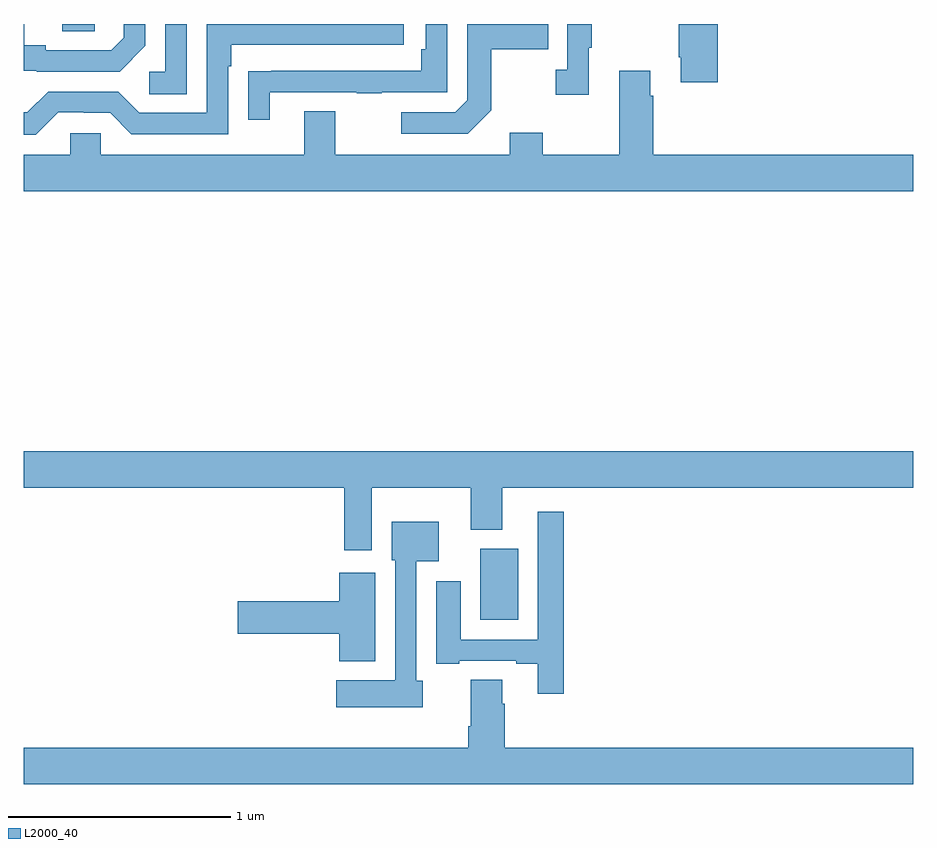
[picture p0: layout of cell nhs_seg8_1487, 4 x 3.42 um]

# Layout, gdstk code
import gdstk
lib = gdstk.Library(unit=1e-6, precision=1e-09)
def R(c, l, rs):  # rectangles x0, y0, x1, y1
    for r in rs: c.add(gdstk.rectangle(r[:2], r[2:], *l))
def P(c, l, *ps):  # polygons
    for p in ps: c.add(gdstk.Polygon(p, *l))
L2000_40 = (2000, 40)

nhs_seg8_1487 = lib.new_cell('nhs_seg8_1487')
R(nhs_seg8_1487, L2000_40, [(207.053,1133.222,207.223,1133.542), (205.175,1135.867,205.32,1135.9)])
P(nhs_seg8_1487, L2000_40, [(205.155,1135.503),(205.271,1135.503),(205.271,1135.5),(205.389,1135.5),(205.485,1135.404),(205.92,1135.404),(205.92,1135.709),(205.933,1135.709),(205.933,1135.806),(206.71,1135.806),(206.71,1135.9),(205.824,1135.9),(205.824,1135.5),(205.521,1135.5),(205.425,1135.596),(205.11,1135.596),(205.017,1135.503),(205,1135.503),(205,1135.403),(205.055,1135.403)],
  [(207.541,1135.793),(207.553,1135.793),(207.553,1135.9),(207.444,1135.9),(207.444,1135.694),(207.393,1135.694),(207.393,1135.581),(207.541,1135.581)],
  [(206.107,1135.593),(206.497,1135.593),(206.497,1135.588),(206.609,1135.588),(206.609,1135.593),(206.904,1135.593),(206.904,1135.9),(206.808,1135.9),(206.808,1135.786),(206.788,1135.786),(206.788,1135.689),(206.113,1135.689),(206.113,1135.688),(206.011,1135.688),(206.011,1135.47),(206.107,1135.47)],
  [(208.121,1135.9),(207.946,1135.9),(207.946,1135.75),(207.953,1135.75),(207.953,1135.638),(208.121,1135.638)],
  [(205.734,1135.9),(205.638,1135.9),(205.638,1135.686),(205.566,1135.686),(205.566,1135.585),(205.734,1135.585)],
  [(207.103,1135.513),(207.103,1135.786),(207.359,1135.786),(207.359,1135.9),(206.994,1135.9),(206.994,1135.557),(206.94,1135.503),(206.697,1135.503),(206.697,1135.407),(206.997,1135.407)],
  [(205.548,1135.802),(205.548,1135.9),(205.451,1135.9),(205.451,1135.839),(205.394,1135.782),(205.099,1135.782),(205.099,1135.805),(205.003,1135.805),(205.003,1135.9),(205,1135.9),(205,1135.689),(205.06,1135.689),(205.06,1135.686),(205.432,1135.686)],
  [(209,1135.312),(207.83,1135.312),(207.83,1135.577),(207.817,1135.577),(207.817,1135.69),(207.677,1135.69),(207.677,1135.312),(207.333,1135.312),(207.333,1135.411),(207.185,1135.411),(207.185,1135.312),(206.401,1135.312),(206.401,1135.507),(206.261,1135.507),(206.261,1135.312),(205.347,1135.312),(205.347,1135.41),(205.209,1135.41),(205.209,1135.312),(205,1135.312),(205,1135.148),(209,1135.148)],
  [(206.566,1133.816),(207.011,1133.816),(207.011,1133.627),(207.151,1133.627),(207.151,1133.816),(209,1133.816),(209,1133.98),(205,1133.98),(205,1133.816),(206.441,1133.816),(206.441,1133.535),(206.566,1133.535)],
  [(207.428,1133.707),(207.312,1133.707),(207.312,1133.133),(206.965,1133.133),(206.965,1133.395),(206.855,1133.395),(206.855,1133.025),(206.959,1133.025),(206.959,1133.037),(207.215,1133.037),(207.215,1133.025),(207.311,1133.025),(207.311,1132.89),(207.428,1132.89)],
  [(206.794,1132.947),(206.766,1132.947),(206.766,1133.486),(206.866,1133.486),(206.866,1133.662),(206.654,1133.662),(206.654,1133.49),(206.67,1133.49),(206.67,1132.951),(206.406,1132.951),(206.406,1132.829),(206.794,1132.829)],
  [(206.581,1133.434),(206.42,1133.434),(206.42,1133.306),(205.962,1133.306),(205.962,1133.159),(206.42,1133.159),(206.42,1133.036),(206.581,1133.036)],
  [(209,1132.648),(207.164,1132.648),(207.164,1132.844),(207.151,1132.844),(207.151,1132.952),(207.011,1132.952),(207.011,1132.744),(206.999,1132.744),(206.999,1132.648),(205,1132.648),(205,1132.484),(209,1132.484)])

lib.write_gds('nhs_seg8_1487.gds')
